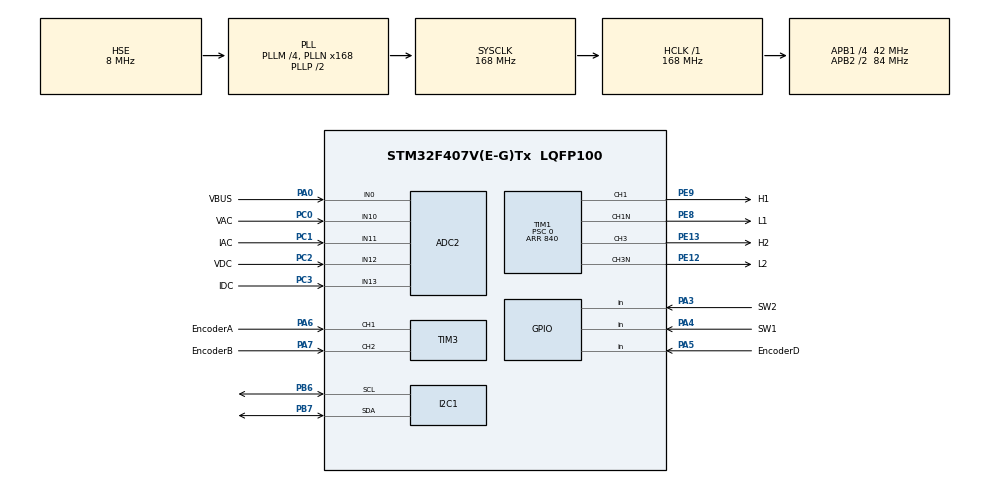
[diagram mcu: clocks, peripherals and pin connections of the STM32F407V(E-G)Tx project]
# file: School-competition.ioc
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ADC1.Channel-2\#ChannelRegularConversion=ADC_CHANNEL_VREFINT
ADC1.ContinuousConvMode=ENABLE
ADC1.EOCSelection=ADC_EOC_SEQ_CONV
ADC1.ExternalTrigConv=ADC_SOFTWARE_START
ADC1.Mode=__NULL
ADC1.NbrOfConversion=1
ADC1.NbrOfConversionFlag=1
ADC1.Rank-2\#ChannelRegularConversion=1
ADC1.SamplingTime-2\#ChannelRegularConversion=ADC_SAMPLETIME_56CYCLES
ADC1.master=1
ADC2.Channel-0\#ChannelRegularConversion=ADC_CHANNEL_10
ADC2.Channel-16\#ChannelRegularConversion=ADC_CHANNEL_11
ADC2.Channel-17\#ChannelRegularConversion=ADC_CHANNEL_12
ADC2.Channel-18\#ChannelRegularConversion=ADC_CHANNEL_13
ADC2.Channel-19\#ChannelRegularConversion=ADC_CHANNEL_0
ADC2.DMAContinuousRequests=ENABLE
ADC2.DiscontinuousConvMode=ENABLE
ADC2.EOCSelection=ADC_EOC_SINGLE_CONV
ADC2.EnableAnalogWatchDog=false
ADC2.ExternalTrigConv=ADC_EXTERNALTRIGCONV_T1_CC2
ADC2.InjNumberOfConversion=0
ADC2.NbrOfConversion=5
ADC2.NbrOfConversionFlag=1
ADC2.Rank-0\#ChannelRegularConversion=1
ADC2.Rank-16\#ChannelRegularConversion=2
ADC2.Rank-17\#ChannelRegularConversion=3
ADC2.Rank-18\#ChannelRegularConversion=4
ADC2.Rank-19\#ChannelRegularConversion=5
ADC2.SamplingTime-0\#ChannelRegularConversion=ADC_SAMPLETIME_15CYCLES
ADC2.SamplingTime-16\#ChannelRegularConversion=ADC_SAMPLETIME_15CYCLES
ADC2.SamplingTime-17\#ChannelRegularConversion=ADC_SAMPLETIME_15CYCLES
ADC2.SamplingTime-18\#ChannelRegularConversion=ADC_SAMPLETIME_15CYCLES
ADC2.SamplingTime-19\#ChannelRegularConversion=ADC_SAMPLETIME_15CYCLES
Dma.ADC2.0.Direction=DMA_PERIPH_TO_MEMORY
Dma.ADC2.0.FIFOMode=DMA_FIFOMODE_DISABLE
Dma.ADC2.0.Instance=DMA2_Stream2
Dma.ADC2.0.MemDataAlignment=DMA_MDATAALIGN_HALFWORD
Dma.ADC2.0.MemInc=DMA_MINC_ENABLE
Dma.ADC2.0.Mode=DMA_CIRCULAR
Dma.ADC2.0.PeriphDataAlignment=DMA_PDATAALIGN_HALFWORD
Dma.ADC2.0.PeriphInc=DMA_PINC_DISABLE
Dma.ADC2.0.Priority=DMA_PRIORITY_LOW
Dma.Request0=ADC2
Mcu.Family=STM32F4
Mcu.Name=STM32F407V(E-G)Tx
Mcu.Package=LQFP100
NVIC.ADC_IRQn=true\:0\:0\:false\:false\:true\:true\:true\:true
NVIC.DMA2_Stream2_IRQn=true\:1\:0\:true\:false\:true\:false\:true\:true
NVIC.PriorityGroup=NVIC_PRIORITYGROUP_2
NVIC.TIM4_IRQn=true\:2\:0\:true\:false\:true\:true\:true\:true
PA0-WKUP.GPIO_Label=VBUS
PA0-WKUP.Signal=ADCx_IN0
PA13.Mode=Serial_Wire
PA13.Signal=SYS_JTMS-SWDIO
PA14.Mode=Serial_Wire
PA14.Signal=SYS_JTCK-SWCLK
PA3.GPIO_Label=SW2
PA3.Signal=GPIO_Input
PA4.GPIO_Label=SW1
PA4.Signal=GPIO_Input
PA5.GPIO_Label=EncoderD
PA5.GPIO_PuPd=GPIO_NOPULL
PA5.Signal=GPIO_Input
PA6.GPIO_Label=EncoderA
PA6.GPIO_PuPd=GPIO_PULLUP
PA6.Signal=S_TIM3_CH1
PA7.GPIO_Label=EncoderB
PA7.GPIO_PuPd=GPIO_PULLUP
PA7.Signal=S_TIM3_CH2
PB6.GPIO_Pu=GPIO_NOPULL
PB6.Mode=I2C
PB6.Signal=I2C1_SCL
PB7.GPIO_Pu=GPIO_NOPULL
PB7.Mode=I2C
PB7.Signal=I2C1_SDA
PC0.GPIO_Label=VAC
PC0.Signal=ADCx_IN10
PC1.GPIO_Label=IAC
PC1.Signal=ADCx_IN11
PC2.GPIO_Label=VDC
PC2.Signal=ADCx_IN12
PC3.GPIO_Label=IDC
PC3.Signal=ADCx_IN13
PE10.GPIO_Label=L3
PE10.Signal=TIM1_CH2N
PE11.GPIO_Label=H3
PE11.Signal=S_TIM1_CH2
PE12.GPIO_Label=L2
PE12.Mode=PWM Generation3 CH3 CH3N
PE12.Signal=TIM1_CH3N
PE13.GPIO_Label=H2
PE13.Signal=S_TIM1_CH3
PE8.GPIO_Label=L1
PE8.Mode=PWM Generation1 CH1 CH1N
PE8.Signal=TIM1_CH1N
PE9.GPIO_Label=H1
PE9.Signal=S_TIM1_CH1
PH0-OSC_IN.Mode=HSE-External-Oscillator
PH0-OSC_IN.Signal=RCC_OSC_IN
PH1-OSC_OUT.Mode=HSE-External-Oscillator
PH1-OSC_OUT.Signal=RCC_OSC_OUT
ProjectManager.HeapSize=0x200
ProjectManager.StackSize=0x400
ProjectManager.TargetToolchain=MDK-ARM V5.32
RCC.48MHZClocksFreq_Value=84000000
RCC.AHBFreq_Value=168000000
RCC.APB1CLKDivider=RCC_HCLK_DIV4
RCC.APB1Freq_Value=42000000
RCC.APB1TimFreq_Value=84000000
RCC.APB2CLKDivider=RCC_HCLK_DIV2
RCC.APB2Freq_Value=84000000
RCC.APB2TimFreq_Value=168000000
RCC.CortexFreq_Value=168000000
RCC.HCLKFreq_Value=168000000
RCC.HSE_VALUE=8000000
RCC.HSI_VALUE=16000000
RCC.LSE_VALUE=32768
RCC.PLLM=4
RCC.PLLN=168
RCC.PLLSourceVirtual=RCC_PLLSOURCE_HSE
RCC.SYSCLKFreq_VALUE=168000000
RCC.SYSCLKSource=RCC_SYSCLKSOURCE_PLLCLK
RCC.VCOOutputFreq_Value=336000000
SH.ADCx_IN0.0=ADC2_IN0,IN0
SH.ADCx_IN10.0=ADC2_IN10,IN10
SH.ADCx_IN11.0=ADC2_IN11,IN11
SH.ADCx_IN12.0=ADC2_IN12,IN12
SH.ADCx_IN13.0=ADC2_IN13,IN13
SH.S_TIM1_CH1.0=TIM1_CH1,PWM Generation1 CH1 CH1N
SH.S_TIM1_CH2.0=TIM1_CH2
SH.S_TIM1_CH3.0=TIM1_CH3,PWM Generation3 CH3 CH3N
SH.S_TIM3_CH1.0=TIM3_CH1,Encoder_Interface
SH.S_TIM3_CH2.0=TIM3_CH2,Encoder_Interface
STMicroelectronics.X-CUBE-ALGOBUILD.1.4.0.LibraryCcDSPOoLibraryJjDSPOoLibrary=true
TIM1.Channel-Output\ Compare2\ No\ Output=TIM_CHANNEL_2
TIM1.Channel-PWM\ Generation1\ CH1\ CH1N=TIM_CHANNEL_1
TIM1.Channel-PWM\ Generation3\ CH3\ CH3N=TIM_CHANNEL_3
TIM1.CounterMode=TIM_COUNTERMODE_CENTERALIGNED2
TIM1.DeadTime=5
TIM1.Period=840
TIM1.Prescaler=0
TIM1.Pulse-PWM\ Generation1\ CH1\ CH1N=420
TIM1.RepetitionCounter=0
TIM1.TIM_MasterOutputTrigger=TIM_TRGO_RESET
TIM1.TIM_MasterSlaveMode=TIM_MASTERSLAVEMODE_DISABLE
TIM3.ClockDivision=TIM_CLOCKDIVISION_DIV1
TIM3.EncoderMode=TIM_ENCODERMODE_TI12
TIM3.IC1Prescaler=TIM_ICPSC_DIV1
TIM3.IC2Prescaler=TIM_ICPSC_DIV1
TIM4.AutoReloadPreload=TIM_AUTORELOAD_PRELOAD_ENABLE
TIM4.Period=100 - 1
TIM4.Prescaler=8400 -1
TIM4.TIM_MasterOutputTrigger=TIM_TRGO_UPDATE
VP_ADC1_Vref_Input.Mode=IN-Vrefint
VP_STMicroelectronics.X-CUBE-ALGOBUILD_VS_DSPOoLibraryJjLibrary_1.4.0_1.4.0.Mode=DSPOoLibraryJjLibrary
VP_TIM1_VS_no_output2.Mode=Output Compare2 No Output
VP_TIM4_VS_ClockSourceINT.Mode=Internal
board=custom

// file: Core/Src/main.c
/* USER CODE BEGIN Header */
/**
  ******************************************************************************
  * @file           : main.c
  * @brief          : Main program body
  ******************************************************************************
  * @attention
  *
  * Copyright (c) 2026 STMicroelectronics.
  * All rights reserved.
  *
  * This software is licensed under terms that can be found in the LICENSE file
  * in the root directory of this software component.
  * If no LICENSE file comes with this software, it is provided AS-IS.
  *
  ******************************************************************************
  */
/* USER CODE END Header */
#include "main.h"
#include "adc.h"
#include "dma.h"
#include "i2c.h"
#include "tim.h"
#include "gpio.h"

/* USER CODE BEGIN Includes */
#include "OLED_GFX.h"
#include "Encoder.h"
#include "UISync.h"
#include <stdio.h>
#include "arm_math.h"
#include "PWM.h"
/* USER CODE END Includes */

void SystemClock_Config(void);

/* USER CODE BEGIN 0 */
static UISync_DeviceHandleTypedef *gEncoderDev = NULL;
static UISync_DeviceHandleTypedef *gOledDev = NULL;

static volatile int32_t gEncoderTotalCount = 0;
static volatile int16_t gEncoderLastStep = 0;
static volatile uint8_t gOledNeedRefresh = 0;

static void UISyncTest_EncoderInit(void)
{
  Encoder_Init();
}

static void UISyncTest_EncoderDeInit(void)
{
  Encoder_DeInit();
}

static UISync_DeviceStatusTypedef UISyncTest_EncoderUpdate(void)
{
  int16_t step = Encoder_PopCount();
  // int16_t step = Encoder_GetCCR();

  if (step == 0)
  {
    return UISync_Waiting;
  }

  gEncoderLastStep = step;
  gEncoderTotalCount += step;
  gOledNeedRefresh = 1U;

  return UISync_Pending;
}

static void UISyncTest_EncoderProcess(void)
{

}

static void UISyncTest_OledInit(void)
{
  OLED_GFX_Init();
  OLED_GFX_Clear();
  OLED_ShowString(0, 0, "UISync Test");
  OLED_ShowString(0, 16, "Rotate encoder");
  OLED_GFX_Refresh();
}

static void UISyncTest_OledDeInit(void)
{
  OLED_GFX_Stop();
}

static UISync_DeviceStatusTypedef UISyncTest_OledUpdate(void)
{
  if (gOledNeedRefresh != 0U)
  {
    return UISync_Pending;
  }

  return UISync_Waiting;
}

static void UISyncTest_OledProcess(void)
{
  char line1[21];
  char line2[21];
  char line3[32];

  (void)snprintf(line1, sizeof(line1), "Step:%6d", (int)gEncoderLastStep);
  (void)snprintf(line2, sizeof(line2), "Total:%5ld", (long)gEncoderTotalCount);
  (void)snprintf(line3, sizeof(line3), "PI:%10.10f", PI);

  OLED_GFX_Clear();
  OLED_ShowString(0, 0, "UISync Test");
  OLED_ShowString(0, 16, line1);
  OLED_ShowString(0, 32, line2);
  OLED_ShowString(0, 47, line3);
  OLED_GFX_Refresh();

  gOledNeedRefresh = 0U;
}

static void UISyncTest_Init(void)
{
  UISync_DeviceInitTypedef encoderInit = {
      .Init = UISyncTest_EncoderInit,
      .DeInit = UISyncTest_EncoderDeInit,
      .Rank = 0U,
      .DataSheet = NULL,
      .Update = UISyncTest_EncoderUpdate,
      .Process = UISyncTest_EncoderProcess,
  };
  UISync_DeviceInitTypedef oledInit = {
      .Init = UISyncTest_OledInit,
      .DeInit = UISyncTest_OledDeInit,
      .Rank = 1U,
      .DataSheet = NULL,
      .Update = UISyncTest_OledUpdate,
      .Process = UISyncTest_OledProcess,
  };

  gEncoderDev = UISync_RegisterDevice(&encoderInit);
  gOledDev = UISync_RegisterDevice(&oledInit);

  if ((gEncoderDev == NULL) || (gOledDev == NULL))
  {
    OLED_GFX_Init();
    OLED_GFX_Clear();
    OLED_ShowString(0, 0, "UISync Reg Err");
    OLED_GFX_Refresh();
    return;
  }

  gOledNeedRefresh = 1U;
  HAL_TIM_Base_Start_IT(&htim4);
}

/* USER CODE END 0 */

int main(void)
{

  /* MCU Configuration--------------------------------------------------------*/

  /* Reset of all peripherals, Initializes the Flash interface and the Systick. */
  HAL_Init();

  /* Configure the system clock */
  SystemClock_Config();

  /* Initialize all configured peripherals */
  MX_GPIO_Init();
  MX_DMA_Init();
  MX_TIM1_Init();
  MX_ADC1_Init();
  MX_ADC2_Init();
  MX_I2C1_Init();
  MX_TIM3_Init();
  MX_TIM4_Init();
  /* USER CODE BEGIN 2 */
  UISyncTest_Init();
  PWM_Init();
  PWM_SetDuty(PWM_BuckChannel, 0.5f);
  PWM_Start(PWM_BuckChannel);

  /* USER CODE END 2 */

  /* Infinite loop */
  while (1)
  {

    /* USER CODE BEGIN 3 */

    UISync_Process();

  }
  /* USER CODE END 3 */
}

void SystemClock_Config(void)
{
  RCC_OscInitTypeDef RCC_OscInitStruct = {0};
  RCC_ClkInitTypeDef RCC_ClkInitStruct = {0};

  /** Configure the main internal regulator output voltage
  */
  __HAL_RCC_PWR_CLK_ENABLE();
  __HAL_PWR_VOLTAGESCALING_CONFIG(PWR_REGULATOR_VOLTAGE_SCALE1);

  /** Initializes the RCC Oscillators according to the specified parameters
  * in the RCC_OscInitTypeDef structure.
  */
  RCC_OscInitStruct.OscillatorType = RCC_OSCILLATORTYPE_HSE;
  RCC_OscInitStruct.HSEState = RCC_HSE_ON;
  RCC_OscInitStruct.PLL.PLLState = RCC_PLL_ON;
  RCC_OscInitStruct.PLL.PLLSource = RCC_PLLSOURCE_HSE;
  RCC_OscInitStruct.PLL.PLLM = 4;
  RCC_OscInitStruct.PLL.PLLN = 168;
  RCC_OscInitStruct.PLL.PLLP = RCC_PLLP_DIV2;
  RCC_OscInitStruct.PLL.PLLQ = 4;
  if (HAL_RCC_OscConfig(&RCC_OscInitStruct) != HAL_OK)
  {
    Error_Handler();
  }

  /** Initializes the CPU, AHB and APB buses clocks
  */
  RCC_ClkInitStruct.ClockType = RCC_CLOCKTYPE_HCLK|RCC_CLOCKTYPE_SYSCLK
                              |RCC_CLOCKTYPE_PCLK1|RCC_CLOCKTYPE_PCLK2;
  RCC_ClkInitStruct.SYSCLKSource = RCC_SYSCLKSOURCE_PLLCLK;
  RCC_ClkInitStruct.AHBCLKDivider = RCC_SYSCLK_DIV1;
  RCC_ClkInitStruct.APB1CLKDivider = RCC_HCLK_DIV4;
  RCC_ClkInitStruct.APB2CLKDivider = RCC_HCLK_DIV2;

  if (HAL_RCC_ClockConfig(&RCC_ClkInitStruct, FLASH_LATENCY_5) != HAL_OK)
  {
    Error_Handler();
  }
}

/* USER CODE BEGIN 4 */

void HAL_TIM_PeriodElapsedCallback(TIM_HandleTypeDef *htim)
{
  if (htim->Instance == TIM4)
  {
    UISync_Update();
  }
}

/* USER CODE END 4 */

void Error_Handler(void)
{
  __disable_irq();
  while (1)
  {
  }
}
